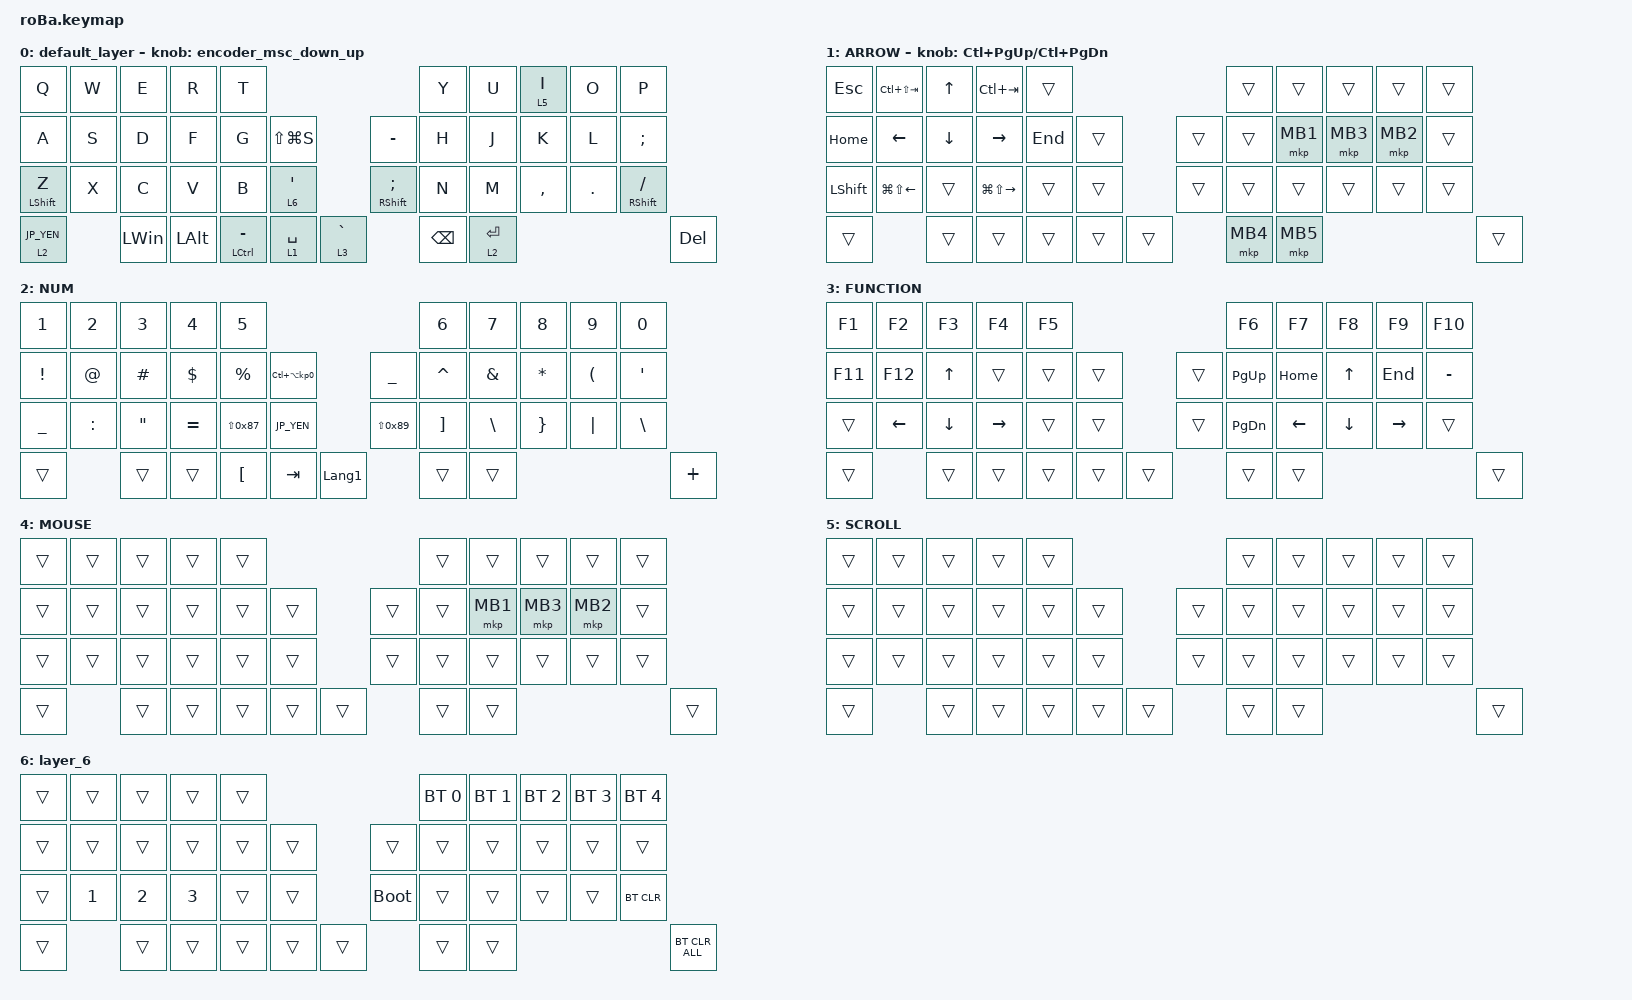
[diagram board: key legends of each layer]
#include <behaviors.dtsi>
#include <dt-bindings/zmk/bt.h>
#include <dt-bindings/zmk/keys.h>
#include <dt-bindings/zmk/pointing.h>

#define ZMK_POINTING_DEFAULT_SCRL_VAL 80

// OS設定を日本語キーボードのまま使用するための変換定義
#define JP_DQUOTE       AT                // "
#define JP_AMPERSAND    CARET             // &
#define JP_QUOTE        AMPERSAND         // '
#define JP_EQUAL        UNDER             // =
#define JP_CARET        EQUAL             // ^
#define JP_YEN          0x89              // ¥
#define JP_PLUS         COLON             // +
#define JP_TILDE        PLUS              // ~
#define JP_PIPE         LS(0x89)          // |
#define JP_AT           LEFT_BRACKET      // @
#define JP_COLON        SINGLE_QUOTE      // :
#define JP_ASTERISK     DOUBLE_QUOTES     // *
#define JP_BACKQUOTE    LEFT_BRACE        // `
#define JP_UNDERSCORE   LS(0x87)          // _
#define JP_LBRACKET     RIGHT_BRACKET     // [
#define JP_RBRACKET     BACKSLASH         // ]
#define JP_LPAREN       ASTERISK          // (
#define JP_RPAREN       LEFT_PARENTHESIS  // )
#define JP_LBRACE       RIGHT_BRACE       // {
#define JP_RBRACE       PIPE              // }
#define JP_KANA         LANGUAGE_1        // かな
#define JP_EISU         LANGUAGE_2        // 英数
#define JP_HANZEN       GRAVE             // 半角/全角

&mt {
    flavor = "balanced";
    quick-tap-ms = <0>;
};

&trackball {
    automouse-layer = <4>;
    scroll-layers = <5>;

    function {
        layers = <2>;
        bindings =
            <&kp LC(TAB)>,
            <&kp LS(LC(TAB))>,
            <&kp LA(ESCAPE)>,
            <&kp LS(LA(ESCAPE))>;

        tick = <50>;
        wait-ms = <5>;
        tap-ms = <5>;
    };

    arrows {
        layers = <3>;
        bindings =
            <&kp RIGHT_ARROW>,
            <&kp LEFT_ARROW>,
            <&kp UP_ARROW>,
            <&kp DOWN_ARROW>;

        tick = <50>;
        wait-ms = <5>;
        tap-ms = <5>;
    };
};

/ {
    combos {
        compatible = "zmk,combos";

        eisu {
            bindings = <&kp JP_EISU>;
            key-positions = <3 4>;
        };
        kana {
            bindings = <&kp JP_KANA>;
            key-positions = <5 6>;
        };

        shift_tab {
            bindings = <&kp LS(TAB)>;
            key-positions = <12 13>;
        };

        muhennkann {
            bindings = <&to_layer_0 INT_MUHENKAN>;
            key-positions = <11 10>;
        };

        double_quotation {
            bindings = <&kp DOUBLE_QUOTES>;
            key-positions = <20 21>;
        };

        eq {
            bindings = <&kp EQUAL>;
            key-positions = <24 25>;
        };
    };

    macros {
        to_layer_0: to_layer_0 {
            compatible = "zmk,behavior-macro-one-param";
            #binding-cells = <1>;
            bindings = <&to 0 &macro_param_1to1 &kp MACRO_PLACEHOLDER>;
            label = "TO_LAYER_0";
        };
    };

    behaviors {
        lt_to_layer_0: lt_to_layer_0 {
            compatible = "zmk,behavior-hold-tap";
            label = "LAYER_TAP_TO_0";
            bindings = <&mo>, <&to_layer_0>;

            #binding-cells = <2>;
            tapping-term-ms = <170>;
        };

        encoder_msc_down_up: encoder_msc_down_up {
            compatible = "zmk,behavior-sensor-rotate";
            label = "ENCODER_MSC_DOWN_UP";
            #sensor-binding-cells = <0>;
            bindings = <&msc SCRL_DOWN>, <&msc SCRL_UP>;

            tap-ms = <20>;
        };
        td0: tap_dance_0{
            compatible = "zmk,behavior-tap-dance";
            #binding-cells = <0>;
            tapping-term-ms =<180>;
            bindings = <&lt 3 JP_EISU>, <&kp JP_KANA>;
        };
    };

    keymap {
        compatible = "zmk,keymap";

        default_layer {
            bindings = <
&kp Q             &kp W         &kp E         &kp R                        &kp T                                                                    &kp Y        &kp U  &lt 5 I    &kp O    &kp P
&kp A             &kp S         &kp D         &kp F                        &kp G        &kp LS(LG(S))                    &kp MINUS                  &kp H        &kp J  &kp K      &kp L    &kp SEMICOLON
&mt LEFT_SHIFT Z  &kp X         &kp C         &kp V                        &kp B        &lt_to_layer_0 6 JP_COLON      &mt RIGHT_SHIFT SEMICOLON  &kp N        &kp M  &kp COMMA  &kp DOT  &mt RIGHT_SHIFT SLASH
&lt_to_layer_0 2 JP_YEN         &kp LEFT_WIN  &kp LEFT_ALT  &mt LCTRL MINUS  &lt 1 SPACE  &lt_to_layer_0 3 JP_HANZEN/*&td0*/           &kp BACKSPACE              &lt 2 ENTER                             &kp DEL
            >;

            //sensor-bindings = <&inc_dec_kp PAGE_DOWN PG_UP>;
            sensor-bindings = <&encoder_msc_down_up>;
        };

        ARROW {
            bindings = <
&kp ESCAPE      &kp LC(LS(TAB))         &kp UP_ARROW    &kp LC(TAB)              &trans                       &trans  &trans  &trans  &trans  &trans
&kp HOME        &kp LEFT_ARROW          &kp DOWN_ARROW  &kp RIGHT_ARROW          &kp END  &trans      &trans  &trans  &mkp MB1  &mkp MB3  &mkp MB2  &trans
&kp LEFT_SHIFT  &kp LG(LS(LEFT_ARROW))  &trans          &kp LG(LS(RIGHT_ARROW))  &trans   &trans      &trans  &trans  &trans  &trans  &trans  &trans
&trans          &trans                  &trans          &trans                   &trans   &trans      &mkp MB4  &mkp MB5                          &trans
            >;

            sensor-bindings = <&inc_dec_kp LC(PAGE_UP) LC(PAGE_DOWN)>;
        };

        NUM {
            bindings = <
&kp N1           &kp N2     &kp N3             &kp N4      &kp N5                                                     &kp N6             &kp N7         &kp N8           &kp N9                &kp N0
&kp EXCLAMATION  &kp JP_DQUOTE     &kp HASH           &kp DOLLAR  &kp PERCENT   &kp LC(LA(KP_NUMBER_0))      &kp UNDERSCORE  &kp JP_AMPERSAND          &kp JP_QUOTE  &kp JP_LPAREN     &kp JP_RPAREN  &kp JP_COLON
&kp JP_EQUAL        &kp JP_PLUS  &kp JP_ASTERISK  &kp JP_CARET   &kp JP_UNDERSCORE  &kp JP_YEN                     &kp JP_PIPE    &kp JP_LBRACKET  &kp JP_RBRACKET  &kp JP_LBRACE  &kp JP_RBRACE             &kp BACKSLASH
&trans           &trans     &trans             &kp JP_AT      &kp TAB       &kp JP_KANA                       &trans          &trans                                                                   &kp PLUS
            >;
        };

        FUNCTION {
            bindings = <
&kp F1   &kp F2          &kp F3          &kp F4           &kp F5                        &kp F6    &kp F7          &kp F8          &kp F9           &kp F10
&kp F11  &kp F12         &kp UP_ARROW    &trans           &trans  &trans      &trans    &kp PAGE_UP    &kp HOME        &kp UP_ARROW    &kp END         &kp MINUS
&trans   &kp LEFT_ARROW  &kp DOWN_ARROW  &kp RIGHT_ARROW  &trans  &trans      &trans    &kp PAGE_DOWN    &kp LEFT_ARROW  &kp DOWN_ARROW  &kp RIGHT_ARROW  &trans
&trans   &trans          &trans          &trans           &trans  &trans      &trans    &trans                                                   &trans
            >;
        };

        MOUSE {
            bindings = <
&trans  &trans  &trans  &trans  &trans                      &trans  &trans    &trans    &trans    &trans
&trans  &trans  &trans  &trans  &trans  &trans      &trans  &trans  &mkp MB1  &mkp MB3  &mkp MB2  &trans
&trans  &trans  &trans  &trans  &trans  &trans      &trans  &trans  &trans    &trans    &trans    &trans
&trans  &trans  &trans  &trans  &trans  &trans      &trans  &trans                                &trans
            >;
        };

        SCROLL {
            bindings = <
&trans  &trans  &trans  &trans  &trans                      &trans  &trans  &trans  &trans  &trans
&trans  &trans  &trans  &trans  &trans  &trans      &trans  &trans  &trans  &trans  &trans  &trans
&trans  &trans  &trans  &trans  &trans  &trans      &trans  &trans  &trans  &trans  &trans  &trans
&trans  &trans  &trans  &trans  &trans  &trans      &trans  &trans                          &trans
            >;
        };

        layer_6 {
            bindings = <
&trans  &trans        &trans        &trans        &trans                           &bt BT_SEL 0  &bt BT_SEL 1  &bt BT_SEL 2  &bt BT_SEL 3  &bt BT_SEL 4
&trans  &trans        &trans        &trans        &trans  &trans      &trans       &trans        &trans        &trans        &trans        &trans
&trans  &kp NUMBER_1  &kp NUMBER_2  &kp NUMBER_3  &trans  &trans      &bootloader  &trans        &trans        &trans        &trans        &bt BT_CLR
&trans  &trans        &trans        &trans        &trans  &trans      &trans       &trans                                                  &bt BT_CLR_ALL
            >;
        };
    };
};
